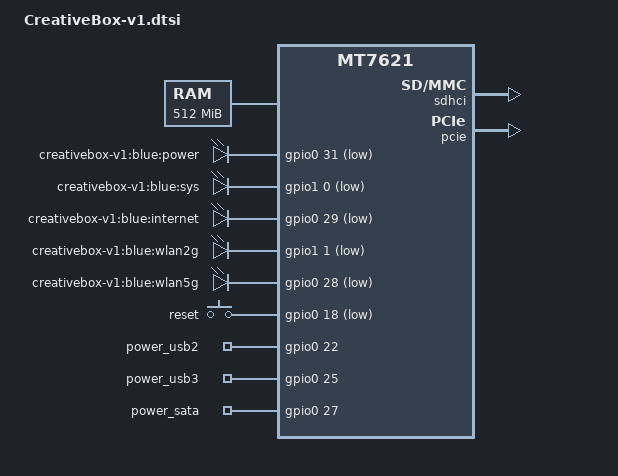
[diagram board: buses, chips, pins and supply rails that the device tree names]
#include "mt7621.dtsi"

#include <dt-bindings/gpio/gpio.h>
#include <dt-bindings/input/input.h>

/ {
	aliases {
		led-boot = &led_sys;
		led-failsafe = &led_sys;
		led-running = &led_sys;
		led-upgrade = &led_sys;
	};

	memory@0 {
		device_type = "memory";
		reg = <0x0 0x1C000000>,
		      <0x20000000 0x4000000>;
	};

	chosen {
		bootargs = "console=ttyS0,115200";
	};

	gpio-leds {
		compatible = "gpio-leds";

		power {
			label = "creativebox-v1:blue:power";
			gpios = <&gpio0 31 GPIO_ACTIVE_LOW>;
			default-state = "on";
		};

		led_sys: sys {
			label = "creativebox-v1:blue:sys";
			gpios = <&gpio1 0 GPIO_ACTIVE_LOW>;
		};

		internet {
			label = "creativebox-v1:blue:internet";
			gpios = <&gpio0 29 GPIO_ACTIVE_LOW>;
		};

		wlan2g {
			label = "creativebox-v1:blue:wlan2g";
			gpios = <&gpio1 1 GPIO_ACTIVE_LOW>;
			linux,default-trigger = "phy0tpt";
		};

		wlan5g {
			label = "creativebox-v1:blue:wlan5g";
			gpios = <&gpio0 28 GPIO_ACTIVE_LOW>;
			linux,default-trigger = "phy1tpt";
		};
	};

	gpio-keys-polled {
		compatible = "gpio-keys-polled";
		poll-interval = <20>;

		reset {
			label = "reset";
			gpios = <&gpio0 18 GPIO_ACTIVE_LOW>;
			linux,code = <KEY_RESTART>;
		};
	};

	gpio_export {
		compatible = "gpio-export";
		#size-cells = <0>;

		power_usb2 {
			gpio-export,name = "power_usb2";
			gpio-export,output = <1>;
			gpios = <&gpio0 22 GPIO_ACTIVE_HIGH>;
		};

		power_usb3 {
			gpio-export,name = "power_usb3";
			gpio-export,output = <1>;
			gpios = <&gpio0 25 GPIO_ACTIVE_HIGH>;
		};

		power_sata {
			gpio-export,name = "power_sata";
			gpio-export,output = <1>;
			gpios = <&gpio0 27 GPIO_ACTIVE_HIGH>;
		};
	};
};

&sdhci {
	status = "okay";
};

&pcie {
	status = "okay";
};

&pcie0 {
	mt76@0,0 {
		reg = <0x0000 0 0 0 0>;
		mediatek,mtd-eeprom = <&factory 0x0000>;
	};
};

&pcie1 {
	mt76@0,0 {
		reg = <0x0000 0 0 0 0>;
		mediatek,mtd-eeprom = <&factory 0x8000>;
		ieee80211-freq-limit = <5000000 6000000>;
	};
};

&ethernet {
	mtd-mac-address = <&factory 0xe000>;
};

&pinctrl {
	state_default: pinctrl0 {
		gpio {
			ralink,group = "wdt", "rgmii2", "mdio";
			ralink,function = "gpio";
		};
	};
};
